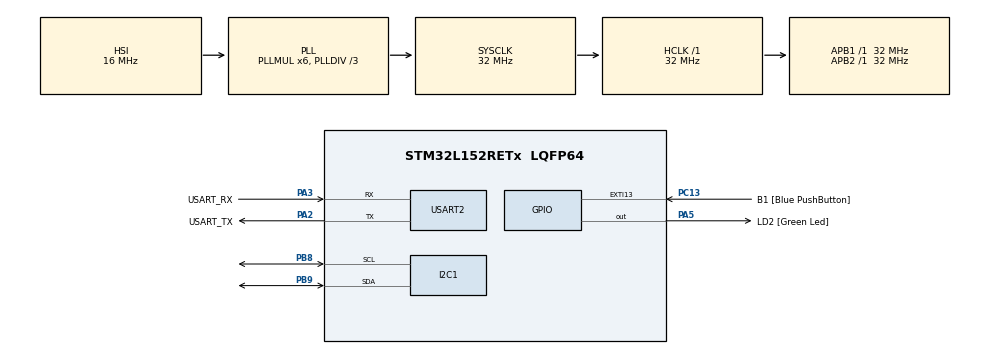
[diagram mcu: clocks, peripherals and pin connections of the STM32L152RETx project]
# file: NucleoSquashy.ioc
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FREERTOS.Tasks01=defaultTask,0,128,StartDefaultTask,Default,NULL
Mcu.Family=STM32L1
Mcu.Name=STM32L152RETx
Mcu.Package=LQFP64
NVIC.PriorityGroup=NVIC_PRIORITYGROUP_4
PA13.GPIO_Label=TMS
PA13.Mode=Serial_Wire
PA13.Signal=SYS_JTMS-SWDIO
PA14.GPIO_Label=TCK
PA14.Mode=Serial_Wire
PA14.Signal=SYS_JTCK-SWCLK
PA2.GPIO_Label=USART_TX
PA2.Mode=Asynchronous
PA2.Signal=USART2_TX
PA3.GPIO_Label=USART_RX
PA3.Mode=Asynchronous
PA3.Signal=USART2_RX
PA5.GPIO_Label=LD2 [Green Led]
PA5.Signal=GPIO_Output
PB3.GPIO_Label=SWO
PB3.Signal=SYS_JTDO-TRACESWO
PB8.Mode=I2C
PB8.Signal=I2C1_SCL
PB9.Mode=I2C
PB9.Signal=I2C1_SDA
PC13-WKUP2.GPIO_Label=B1 [Blue PushButton]
PC13-WKUP2.Signal=GPXTI13
PC14-OSC32_IN.Mode=LSE-External-Oscillator
PC14-OSC32_IN.Signal=RCC_OSC32_IN
PC15-OSC32_OUT.Mode=LSE-External-Oscillator
PC15-OSC32_OUT.Signal=RCC_OSC32_OUT
PH0-OSC_IN.Mode=HSE-External-Clock-Source
PH0-OSC_IN.Signal=RCC_OSC_IN
PH1-OSC_OUT.Signal=RCC_OSC_OUT
ProjectManager.HeapSize=0x200
ProjectManager.StackSize=0x400
ProjectManager.TargetToolchain=SW4STM32
RCC.48MHZClocksFreq_Value=48000000
RCC.AHBFreq_Value=32000000
RCC.APB1Freq_Value=32000000
RCC.APB1TimFreq_Value=32000000
RCC.APB2Freq_Value=32000000
RCC.APB2TimFreq_Value=32000000
RCC.HCLKFreq_Value=32000000
RCC.HSE_VALUE=8000000
RCC.HSI_VALUE=16000000
RCC.MSI_VALUE=2097000
RCC.PLLDIV=RCC_PLL_DIV3
RCC.PLLMUL=RCC_PLL_MUL6
RCC.RTCClockSelectionVirtual=RCC_RTCCLKSOURCE_LSE
RCC.SYSCLKFreq_VALUE=32000000
RCC.SYSCLKSource=RCC_SYSCLKSOURCE_PLLCLK
RCC.USBOutput=48000000
RCC.VCOOutputFreq_Value=96000000
USART2.VirtualMode=VM_ASYNC
VP_FREERTOS_VS_ENABLE.Mode=Enabled
board=NUCLEO-L152RE

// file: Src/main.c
/* USER CODE BEGIN Header */
/**
  ******************************************************************************
  * @file           : main.c
  * @brief          : Main program body
  ******************************************************************************
  * This notice applies to any and all portions of this file
  * that are not between comment pairs USER CODE BEGIN and
  * USER CODE END. Other portions of this file, whether
  * inserted by the user or by software development tools
  * are owned by their respective copyright owners.
  *
  * Copyright (c) 2019 STMicroelectronics International N.V.
  * All rights reserved.
  *
  * Redistribution and use in source and binary forms, with or without
  * modification, are permitted, provided that the following conditions are met:
  *
  * 1. Redistribution of source code must retain the above copyright notice,
  *    this list of conditions and the following disclaimer.
  * 2. Redistributions in binary form must reproduce the above copyright notice,
  *    this list of conditions and the following disclaimer in the documentation
  *    and/or other materials provided with the distribution.
  * 3. Neither the name of STMicroelectronics nor the names of other
  *    contributors to this software may be used to endorse or promote products
  *    derived from this software without specific written permission.
  * 4. This software, including modifications and/or derivative works of this
  *    software, must execute solely and exclusively on microcontroller or
  *    microprocessor devices manufactured by or for STMicroelectronics.
  * 5. Redistribution and use of this software other than as permitted under
  *    this license is void and will automatically terminate your rights under
  *    this license.
  *
  * THIS SOFTWARE IS PROVIDED BY STMICROELECTRONICS AND CONTRIBUTORS "AS IS"
  * AND ANY EXPRESS, IMPLIED OR STATUTORY WARRANTIES, INCLUDING, BUT NOT
  * LIMITED TO, THE IMPLIED WARRANTIES OF MERCHANTABILITY, FITNESS FOR A
  * PARTICULAR PURPOSE AND NON-INFRINGEMENT OF THIRD PARTY INTELLECTUAL PROPERTY
  * RIGHTS ARE DISCLAIMED TO THE FULLEST EXTENT PERMITTED BY LAW. IN NO EVENT
  * SHALL STMICROELECTRONICS OR CONTRIBUTORS BE LIABLE FOR ANY DIRECT, INDIRECT,
  * INCIDENTAL, SPECIAL, EXEMPLARY, OR CONSEQUENTIAL DAMAGES (INCLUDING, BUT NOT
  * LIMITED TO, PROCUREMENT OF SUBSTITUTE GOODS OR SERVICES; LOSS OF USE, DATA,
  * OR PROFITS; OR BUSINESS INTERRUPTION) HOWEVER CAUSED AND ON ANY THEORY OF
  * LIABILITY, WHETHER IN CONTRACT, STRICT LIABILITY, OR TORT (INCLUDING
  * NEGLIGENCE OR OTHERWISE) ARISING IN ANY WAY OUT OF THE USE OF THIS SOFTWARE,
  * EVEN IF ADVISED OF THE POSSIBILITY OF SUCH DAMAGE.
  *
  ******************************************************************************
  */
/* USER CODE END Header */

#include "main.h"
#include "cmsis_os.h"

/* USER CODE BEGIN Includes */
#include "ssd1306.h"
#include "gamesys.h"
/* USER CODE END Includes */

I2C_HandleTypeDef hi2c1;

UART_HandleTypeDef huart2;

osThreadId defaultTaskHandle;

void SystemClock_Config(void);
static void MX_GPIO_Init(void);
static void MX_USART2_UART_Init(void);
static void MX_I2C1_Init(void);
void StartDefaultTask(void const * argument);

/* USER CODE BEGIN PFP */

void vToggleLED(void){
	HAL_GPIO_TogglePin(LD2_GPIO_Port, LD2_Pin);
}

void vTaskToggleLED(void *pvParameters){
	const TickType_t xToggleDelay = 500 / portTICK_PERIOD_MS;
	for( ;; ){
		vToggleLED();
		vTaskDelay(xToggleDelay);
	}
}

/*	Update Task for calculations and I/O Management	*/

void vTaskUpdate(void *pvParameters){
	const TickType_t xUpDelay = 33.33 / portTICK_PERIOD_MS;
	for( ;; ){
		vTaskDelay(xUpDelay);
		vUpdate();
	}
}

/* Draw Task to update the screen */

void vTaskDraw(void *pvParameters){
	const TickType_t xUpDelay = 33.33 / portTICK_PERIOD_MS;
		for( ;; ){
			vTaskDelay(xUpDelay);
			vDraw();
			ssd1306_DrawPixel(24,24, White);
			ssd1306_UpdateScreen();
		}
}

/* USER CODE END PFP */

int main(void)
{

  /* MCU Configuration--------------------------------------------------------*/

  /* Reset of all peripherals, Initializes the Flash interface and the Systick. */
  HAL_Init();

  /* Configure the system clock */
  SystemClock_Config();

  /* Initialize all configured peripherals */
  MX_GPIO_Init();
  MX_USART2_UART_Init();
  MX_I2C1_Init();
  /* USER CODE BEGIN 2 */
  ssd1306_Init();
  HAL_Delay(1000);
  ssd1306_Fill(Black);
  ssd1306_UpdateScreen();
  HAL_Delay(1000);

	ssd1306_SetCursor(23,23);
	//ssd1306_WriteString("1", Font_11x18, White);
	ssd1306_UpdateScreen();
	vInitSys();

  /* USER CODE END 2 */

  /* Create the thread(s) */
  /* definition and creation of defaultTask */
  osThreadDef(defaultTask, StartDefaultTask, osPriorityNormal, 0, 128);
  defaultTaskHandle = osThreadCreate(osThread(defaultTask), NULL);

  /* USER CODE BEGIN RTOS_THREADS */
  /* add threads, ... */

  xTaskCreate( vTaskUpdate, "hello", 10, NULL, 0, NULL);
  xTaskCreate( vTaskDraw, "hello", 10, NULL, 0, NULL);
  xTaskCreate( vTaskToggleLED, "Led", 10, NULL, 0, NULL);
  /* USER CODE END RTOS_THREADS */

  /* Start scheduler */
  osKernelStart();

  /* We should never get here as control is now taken by the scheduler */

  /* Infinite loop */
  while (1)
  {

  }
}

void SystemClock_Config(void)
{
  RCC_OscInitTypeDef RCC_OscInitStruct = {0};
  RCC_ClkInitTypeDef RCC_ClkInitStruct = {0};

  /**Configure the main internal regulator output voltage
  */
  __HAL_PWR_VOLTAGESCALING_CONFIG(PWR_REGULATOR_VOLTAGE_SCALE1);
  /**Initializes the CPU, AHB and APB busses clocks
  */
  RCC_OscInitStruct.OscillatorType = RCC_OSCILLATORTYPE_HSI;
  RCC_OscInitStruct.HSIState = RCC_HSI_ON;
  RCC_OscInitStruct.HSICalibrationValue = RCC_HSICALIBRATION_DEFAULT;
  RCC_OscInitStruct.PLL.PLLState = RCC_PLL_ON;
  RCC_OscInitStruct.PLL.PLLSource = RCC_PLLSOURCE_HSI;
  RCC_OscInitStruct.PLL.PLLMUL = RCC_PLL_MUL6;
  RCC_OscInitStruct.PLL.PLLDIV = RCC_PLL_DIV3;
  if (HAL_RCC_OscConfig(&RCC_OscInitStruct) != HAL_OK)
  {
    Error_Handler();
  }
  /**Initializes the CPU, AHB and APB busses clocks
  */
  RCC_ClkInitStruct.ClockType = RCC_CLOCKTYPE_HCLK|RCC_CLOCKTYPE_SYSCLK
                              |RCC_CLOCKTYPE_PCLK1|RCC_CLOCKTYPE_PCLK2;
  RCC_ClkInitStruct.SYSCLKSource = RCC_SYSCLKSOURCE_PLLCLK;
  RCC_ClkInitStruct.AHBCLKDivider = RCC_SYSCLK_DIV1;
  RCC_ClkInitStruct.APB1CLKDivider = RCC_HCLK_DIV1;
  RCC_ClkInitStruct.APB2CLKDivider = RCC_HCLK_DIV1;

  if (HAL_RCC_ClockConfig(&RCC_ClkInitStruct, FLASH_LATENCY_1) != HAL_OK)
  {
    Error_Handler();
  }
}

static void MX_I2C1_Init(void)
{

  hi2c1.Instance = I2C1;
  hi2c1.Init.ClockSpeed = 100000;
  hi2c1.Init.DutyCycle = I2C_DUTYCYCLE_2;
  hi2c1.Init.OwnAddress1 = 0;
  hi2c1.Init.AddressingMode = I2C_ADDRESSINGMODE_7BIT;
  hi2c1.Init.DualAddressMode = I2C_DUALADDRESS_DISABLE;
  hi2c1.Init.OwnAddress2 = 0;
  hi2c1.Init.GeneralCallMode = I2C_GENERALCALL_DISABLE;
  hi2c1.Init.NoStretchMode = I2C_NOSTRETCH_DISABLE;
  if (HAL_I2C_Init(&hi2c1) != HAL_OK)
  {
    Error_Handler();
  }

}

static void MX_USART2_UART_Init(void)
{

  huart2.Instance = USART2;
  huart2.Init.BaudRate = 115200;
  huart2.Init.WordLength = UART_WORDLENGTH_8B;
  huart2.Init.StopBits = UART_STOPBITS_1;
  huart2.Init.Parity = UART_PARITY_NONE;
  huart2.Init.Mode = UART_MODE_TX_RX;
  huart2.Init.HwFlowCtl = UART_HWCONTROL_NONE;
  huart2.Init.OverSampling = UART_OVERSAMPLING_16;
  if (HAL_UART_Init(&huart2) != HAL_OK)
  {
    Error_Handler();
  }

}

static void MX_GPIO_Init(void)
{
  GPIO_InitTypeDef GPIO_InitStruct = {0};

  /* GPIO Ports Clock Enable */
  __HAL_RCC_GPIOC_CLK_ENABLE();
  __HAL_RCC_GPIOH_CLK_ENABLE();
  __HAL_RCC_GPIOA_CLK_ENABLE();
  __HAL_RCC_GPIOB_CLK_ENABLE();

  /*Configure GPIO pin Output Level */
  HAL_GPIO_WritePin(LD2_GPIO_Port, LD2_Pin, GPIO_PIN_RESET);

  /*Configure GPIO pin : B1_Pin */
  GPIO_InitStruct.Pin = B1_Pin;
  GPIO_InitStruct.Mode = GPIO_MODE_IT_RISING;
  GPIO_InitStruct.Pull = GPIO_NOPULL;
  HAL_GPIO_Init(B1_GPIO_Port, &GPIO_InitStruct);

  /*Configure GPIO pin : LD2_Pin */
  GPIO_InitStruct.Pin = LD2_Pin;
  GPIO_InitStruct.Mode = GPIO_MODE_OUTPUT_PP;
  GPIO_InitStruct.Pull = GPIO_NOPULL;
  GPIO_InitStruct.Speed = GPIO_SPEED_FREQ_LOW;
  HAL_GPIO_Init(LD2_GPIO_Port, &GPIO_InitStruct);

}

void StartDefaultTask(void const * argument)
{

  for(;;)
  {
    osDelay(1);
  }
}

void Error_Handler(void)
{
}

/************************ (C) COPYRIGHT STMicroelectronics *****END OF FILE****/
